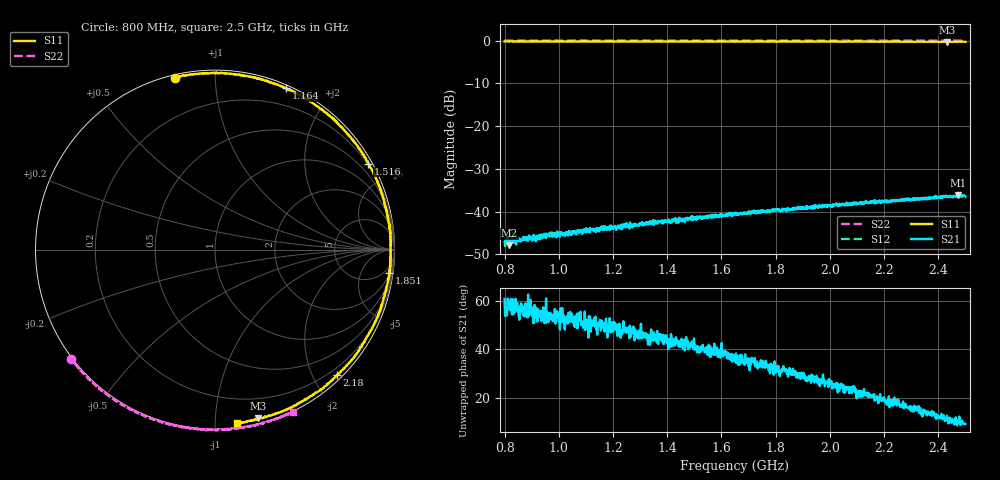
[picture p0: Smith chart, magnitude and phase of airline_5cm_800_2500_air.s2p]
!Keysight Technologies N9950B: A.12.38
!Date: Friday, 14 April 2023 14:28:22
!Timezone: (UTC-06:00) Central Time (US & Canada)
!Model: N9950B
!Serial: MY61131330
!GPS Latitude:
!GPS Longitude:
!GPS TimeStamp: 0001-01-01 00:00:00Z
!GPS Seconds Since Last Read: 0
!CHECKSUM:1507444050
!Correction: S11(ON U)S21(ON U)S12(ON U)S22(ON U)
!S2P File: Measurements:S11,S21,S12,S22:
# Hz S DB R 50
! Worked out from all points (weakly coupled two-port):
!   1001 points, 800 MHz to 2.5 GHz, reference 50 ohm
!   highest |S21| = -36.16 dB at 2.474 GHz (marker M1); lowest = -47.9 dB at 817 MHz (marker M2)
!   lowest |S11| = -0.3 dB at 2.434 GHz (marker M3), VSWR 65.95, Z = 2.02 - j64.5 ohm
!   |S11| at or under -10 dB: nowhere
!   |S22| runs from 0.0 to 0.1 dB; largest |S21 - S12| = 0.0011
!   S11 on the Smith chart (normalised r, x): 800 MHz: 0.01, +0.79; 1.164 GHz: 0.03, +1.53; 1.516 GHz: 0.16, +3.82; 1.851 GHz: 2, -15; 2.18 GHz: 0.08, -2.37; 2.5 GHz: 0.03, -1.14
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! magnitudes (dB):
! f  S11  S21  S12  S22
! 800 MHz  -0.1  -47.2  -47.5  0.1
! 817 MHz  -0.2  -47.9  -47.1  0.1
! 898.6 MHz  -0.1  -46.1  -46.3  0.0
! 917.3 MHz  -0.1  -45.7  -46.4  0.0
! 966.6 MHz  -0.2  -45.2  -45.8  0.0
! 983.6 MHz  -0.1  -45.7  -45.3  0.0
! 1.084 GHz  -0.1  -44.3  -44.5  0.0
! 1.164 GHz  -0.2  -44.3  -44.1  0.1
! 1.22 GHz  -0.2  -43.8  -43.3  0.1
! 1.244 GHz  -0.1  -42.9  -43.2  0.1
! 1.266 GHz  -0.2  -43.4  -43.3  0.1
! 1.368 GHz  -0.2  -42.2  -42.4  0.1
! 1.516 GHz  -0.2  -41.5  -41.6  0.0
! 1.65 GHz  -0.2  -40.6  -40.5  0.0
! 1.851 GHz  -0.2  -39.7  -39.5  0.0
! 1.886 GHz  -0.2  -39.0  -39.1  0.1
! 1.934 GHz  -0.2  -39.0  -39.0  0.0
! 2.18 GHz  -0.2  -37.5  -37.7  0.0
! 2.218 GHz  -0.2  -37.8  -37.6  0.0
! 2.434 GHz  -0.3  -36.6  -36.5  0.0
! 2.474 GHz  -0.2  -36.2  -36.4  0.0
! 2.5 GHz  -0.2  -36.5  -36.2  0.0
